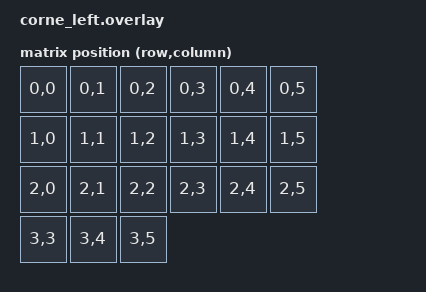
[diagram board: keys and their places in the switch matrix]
#include <dt-bindings/zmk/matrix_transform.h>
#include <layouts/foostan/corne/6column.dtsi>

// Use the standard 42-key Corne geometry and attach our left-half transform.
&foostan_corne_6col_layout {
    transform = <&corne_left_transform>;
};

&{/} {
    chosen {
        // Keep whatever your upstream shield sets for kscan; the key is the physical layout.
        zmk,physical-layout = &foostan_corne_6col_layout;
    };

    // Left half: 6 columns x 4 rows, with thumbs at row 3, cols 3..5.
    // Include ALL 21 positions so nothing is "Not found in transform".
    corne_left_transform: keymap_transform_left {
        compatible = "zmk,matrix-transform";
        columns = <6>;
        rows = <4>;
        map = <
            // Row 0
            RC(0,0) RC(0,1) RC(0,2) RC(0,3) RC(0,4) RC(0,5)
            // Row 1
            RC(1,0) RC(1,1) RC(1,2) RC(1,3) RC(1,4) RC(1,5)
            // Row 2
            RC(2,0) RC(2,1) RC(2,2) RC(2,3) RC(2,4) RC(2,5)
            // Thumbs (left 3)
            RC(3,3) RC(3,4) RC(3,5)
        >;
    };
};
